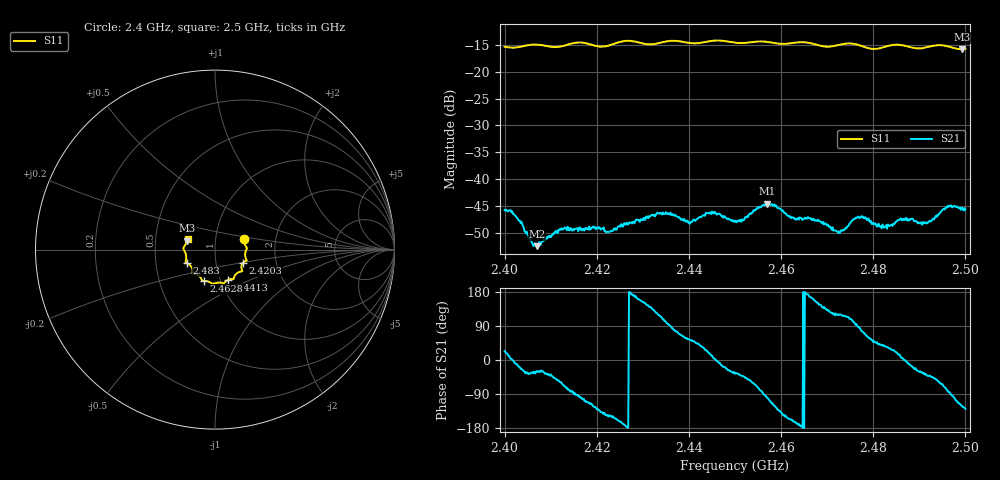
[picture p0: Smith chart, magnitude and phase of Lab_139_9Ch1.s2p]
# Hz S RI R 50
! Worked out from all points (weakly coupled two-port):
!   601 points, 2.4 GHz to 2.5 GHz, reference 50 ohm
!   highest |S21| = -44.57 dB at 2.457 GHz (marker M1); lowest = -52.5 dB at 2.407 GHz (marker M2)
!   lowest |S11| = -15.8 dB at 2.4993 GHz (marker M3), VSWR 1.39, Z = 36.5 + j3.72 ohm
!   |S11| at or under -10 dB: start of sweep to end of sweep
!   S12 and S22 are empty: the file has one direction only
!   S11 on the Smith chart (normalised r, x): 2.4 GHz: 1.37, +0.16; 2.4203 GHz: 1.35, -0.21; 2.4413 GHz: 1.09, -0.38; 2.4628 GHz: 0.83, -0.30; 2.483 GHz: 0.72, -0.11; 2.5 GHz: 0.73, +0.09
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2.4e9  0.1607 0.0573  0.00475 0.00203  0 0  0 0
2.401833e9  0.1632 0.037  0.00472 -8.91e-05  0 0  0 0
2.407e9  0.1786 0.00733  0.00207 -0.00116  0 0  0 0
2.4125e9  0.1685 -0.0372  0.00153 -0.00304  0 0  0 0
2.416667e9  0.1763 -0.0613  -0.000664 -0.00327  0 0  0 0
2.420333e9  0.1551 -0.074  -0.00231 -0.00262  0 0  0 0
2.423e9  0.1466 -0.0991  -0.00276 -0.00179  0 0  0 0
2.433333e9  0.1081 -0.1487  -0.00234 0.0042  0 0  0 0
2.441333e9  0.0743 -0.1678  0.00279 0.00298  0 0  0 0
2.445e9  0.0526 -0.1864  0.00489 0.001  0 0  0 0
2.45e9  0.0292 -0.1838  0.00325 -0.00234  0 0  0 0
2.457e9  -0.0167 -0.1885  -0.00099 -0.00582  0 0  0 0
2.462833e9  -0.0631 -0.1748  -0.00408 -0.00128  0 0  0 0
2.466667e9  -0.0742 -0.1674  -0.004 0.00112  0 0  0 0
2.472333e9  -0.1137 -0.1352  -0.00161 0.00275  0 0  0 0
2.477167e9  -0.1244 -0.1233  0.00058 0.00436  0 0  0 0
2.483e9  -0.1547 -0.0767  0.00287 0.00193  0 0  0 0
2.483333e9  -0.1568 -0.0757  0.00312 0.00194  0 0  0 0
2.492e9  -0.17 -0.00714  0.00299 -0.00272  0 0  0 0
2.496333e9  -0.1705 0.0184  0.000508 -0.00551  0 0  0 0
2.499333e9  -0.154 0.0496  -0.00289 -0.00458  0 0  0 0
2.5e9  -0.1524 0.0586  -0.00326 -0.00406  0 0  0 0
